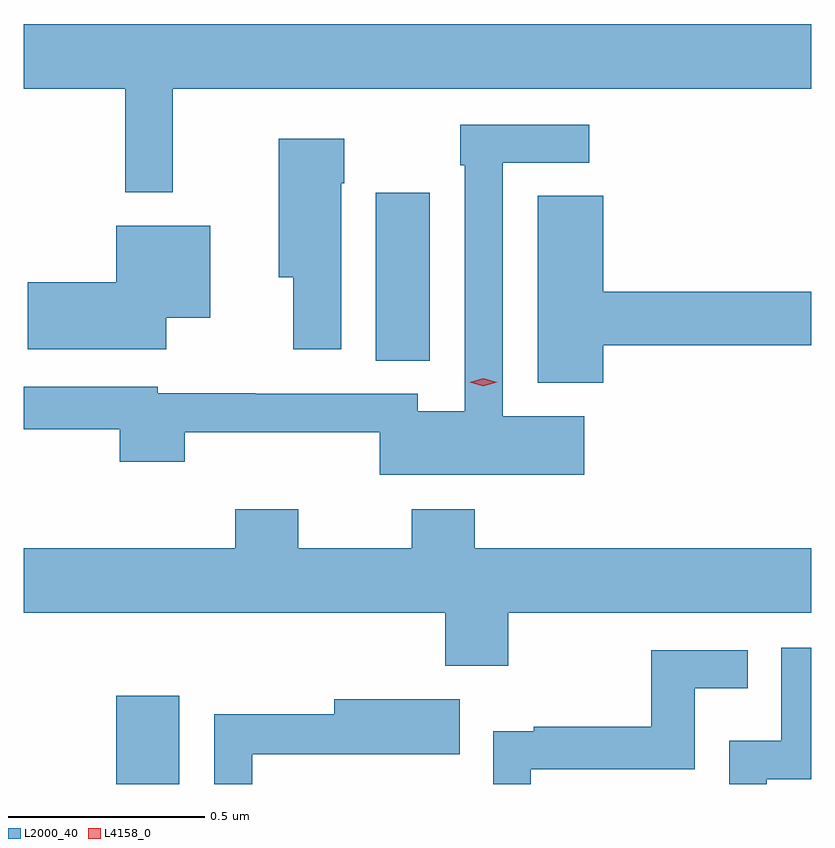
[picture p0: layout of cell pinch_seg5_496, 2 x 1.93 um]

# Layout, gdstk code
import gdstk
lib = gdstk.Library(unit=1e-6, precision=1e-09)
def R(c, l, rs):  # rectangles x0, y0, x1, y1
    for r in rs: c.add(gdstk.rectangle(r[:2], r[2:], *l))
def P(c, l, *ps):  # polygons
    for p in ps: c.add(gdstk.Polygon(p, *l))
L2000_40 = (2000, 40)
L4158_0 = (4158, 0)

pinch_seg5_496 = lib.new_cell('pinch_seg5_496')
R(pinch_seg5_496, L2000_40, [(911.498,840.341,911.659,840.565), (912.158,841.417,912.295,841.843)])
P(pinch_seg5_496, L2000_40, [(911.642,842.108),(913.264,842.108),(913.264,842.272),(911.264,842.272),(911.264,842.108),(911.521,842.108),(911.521,841.845),(911.642,841.845)],
  [(912.688,841.276),(912.48,841.276),(912.48,841.92),(912.7,841.92),(912.7,842.016),(912.372,842.016),(912.372,841.913),(912.384,841.913),(912.384,841.288),(912.264,841.288),(912.264,841.332),(911.852,841.332),(911.852,841.334),(911.604,841.334),(911.604,841.35),(911.264,841.35),(911.264,841.242),(911.507,841.242),(911.507,841.16),(911.672,841.16),(911.672,841.235),(912.168,841.235),(912.168,841.127),(912.688,841.127)],
  [(912.07,841.868),(912.078,841.868),(912.078,841.981),(911.912,841.981),(911.912,841.628),(911.948,841.628),(911.948,841.446),(912.07,841.446)],
  [(912.736,841.456),(913.264,841.456),(913.264,841.592),(912.736,841.592),(912.736,841.835),(912.569,841.835),(912.569,841.361),(912.736,841.361)],
  [(911.626,841.526),(911.737,841.526),(911.737,841.759),(911.498,841.759),(911.498,841.616),(911.274,841.616),(911.274,841.445),(911.626,841.445)],
  [(912.495,840.776),(913.264,840.776),(913.264,840.94),(912.41,840.94),(912.41,841.039),(912.25,841.039),(912.25,840.94),(911.961,840.94),(911.961,841.039),(911.801,841.039),(911.801,840.94),(911.264,840.94),(911.264,840.776),(912.335,840.776),(912.335,840.641),(912.495,840.641)],
  [(913.152,840.353),(913.264,840.353),(913.264,840.687),(913.188,840.687),(913.188,840.451),(913.056,840.451),(913.056,840.341),(913.152,840.341)],
  [(912.552,840.378),(912.969,840.378),(912.969,840.584),(913.103,840.584),(913.103,840.681),(912.858,840.681),(912.858,840.487),(912.559,840.487),(912.559,840.475),(912.456,840.475),(912.456,840.341),(912.552,840.341)],
  [(911.844,840.417),(912.157,840.417),(912.157,840.416),(912.371,840.416),(912.371,840.556),(912.053,840.556),(912.053,840.518),(911.748,840.518),(911.748,840.341),(911.844,840.341)])
P(pinch_seg5_496, L4158_0, [(912.431,841.352),(912.397,841.362),(912.396,841.362),(912.397,841.362),(912.431,841.372),(912.466,841.362),(912.466,841.362),(912.466,841.362)])

lib.write_gds('pinch_seg5_496.gds')
